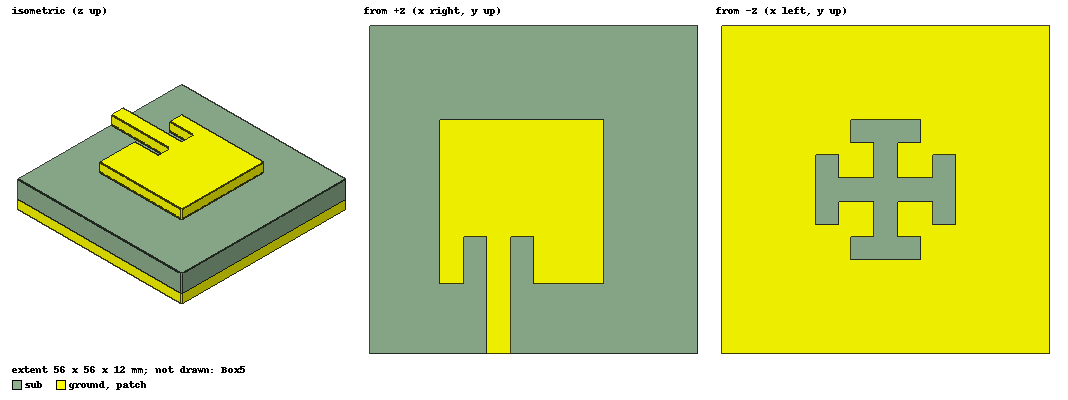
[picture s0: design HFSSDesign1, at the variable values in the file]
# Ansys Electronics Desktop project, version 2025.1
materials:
  vacuum: permittivity=1
  copper: permeability=0.999991 conductivity=58000000
  air: permittivity=1.0006 permeability=1.0000004
  Neltec NY9260(IM) (tm): permittivity=2.6 dielectric_loss_tangent=0.002
  Teflon (tm): permittivity=2.1 dielectric_loss_tangent=0.001

design HFSSDesign1 (HFSS, HFSS Modal Network, model units mm)
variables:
  feedy = 8mm
  feedx = 12mm
  Wsub = 6mm
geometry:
  ground [copper] = box(corner=(0mm, 0mm, 0mm), size=(56mm, 56mm, 3mm))
  sub [Neltec NY9260(IM) (tm)] = box(corner=(0mm, 0mm, 3mm), size=(56mm, 56mm, Wsub))
  patch [copper] = box(corner=(12mm, 12mm, 6mm), size=(28mm, 28mm, 3mm))
  Box5 [vacuum] = box(corner=(-40mm, -40mm, -40mm), size=(136mm, 136mm, 100mm))
  Box6 = box(corner=(20mm, 26mm, 0mm), size=(16mm, 4mm, 3mm))
  Box7 = box(corner=(26mm, 20mm, 0mm), size=(4mm, 16mm, 3mm))
  Box8 = box(corner=(16mm, 22mm, 0mm), size=(4mm, 12mm, 3mm))
  Box9 = box(corner=(36mm, 22mm, 0mm), size=(4mm, 12mm, 3mm))
  Box10 = box(corner=(22mm, 36mm, 0mm), size=(12mm, 4mm, 3mm))
  Box11 = box(corner=(22mm, 16mm, 0mm), size=(12mm, 4mm, 3mm))
  Box6.unite(Box7..Box11)
  ground.subtract(Box6)
  Rectangle1 = rectangle(corner=(20mm, 0mm, 3mm), z_size=Wsub, x_size=4mm)
  Box12 = box(corner=(16mm, 12mm, 6mm), size=(4mm, 8mm, 3mm))
  Box13 = box(corner=(24mm, 12mm, 6mm), size=(4mm, 8mm, 3mm))
  Box14 = box(corner=(20mm, 0mm, 6mm), size=(4mm, 12mm, 3mm))
  patch.subtract(Box12, Box13)
  patch.unite(Box14)
  patch.move(0mm, 0mm, 3mm)
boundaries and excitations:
  Rad1: Radiation Objects=Box5
  1: Lumped Port Objects=Rectangle1 LumpedPortType=Modal Modes{Mode1{IntLine{(22, 0, 3) -> (22, 0, 9)} CharImp=Zpi}} Impedance=50ohm
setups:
  Setup1: HfssDriven Frequency=2.4GHz MaxDeltaS=0.02 MaximumPasses=10 MinimumPasses=1 MinimumConvergedPasses=1 PercentRefinement=30 BasisOrder=1 PortAccuracy=2 DrivenSolverType="Iterative Solver" IterativeResidual=0.0001 DDMSolverResidual=0.0001
    sweep Sweep: 1GHz to 3GHz, 101 points; Type=Interpolating InterpTolerance=0.5 InterpMaxSolns=250 InterpUsePortImped=false PassivityErrorTolerance=0.0001
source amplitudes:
  1:1: 1W 0deg
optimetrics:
  ParametricSetup1: Parametric Sim._Setups=[Setup1]
    sweep feedx: LIN 16mm 24mm 4mm
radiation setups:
  Infinite Sphere1: Infinite Sphere Theta=0deg..180deg step 2deg Phi=-180deg..180deg step 2deg
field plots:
  Vector_Jsurf1: Jsurf over patch.face(all 14) on Setup1 : LastAdaptive at Freq=2.4GHz Phase=0deg
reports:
  S Parameter Plot1: dB(S(1,1)) vs Freq on Setup1 : Sweep [feedx=all]; markers m1 at 2.06GHz, m2 at 2.46GHz
  Realized Gain Plot1: dB(RealizedGainTotal) vs Phi, Theta on Setup1 : LastAdaptive, Infinite Sphere1 [Freq=2.4GHz]
  S Parameter Plot2: dB(S(1,1)) vs Freq on Setup1 : Sweep; markers m1 at 2.36GHz
  Axial Ratio Plot1: mag(AxialRatioValue), dB(PolarizationRatioCircularRHCP) vs Freq on Setup1 : LastAdaptive, Infinite Sphere1 [Phi=0deg Theta=0deg]
